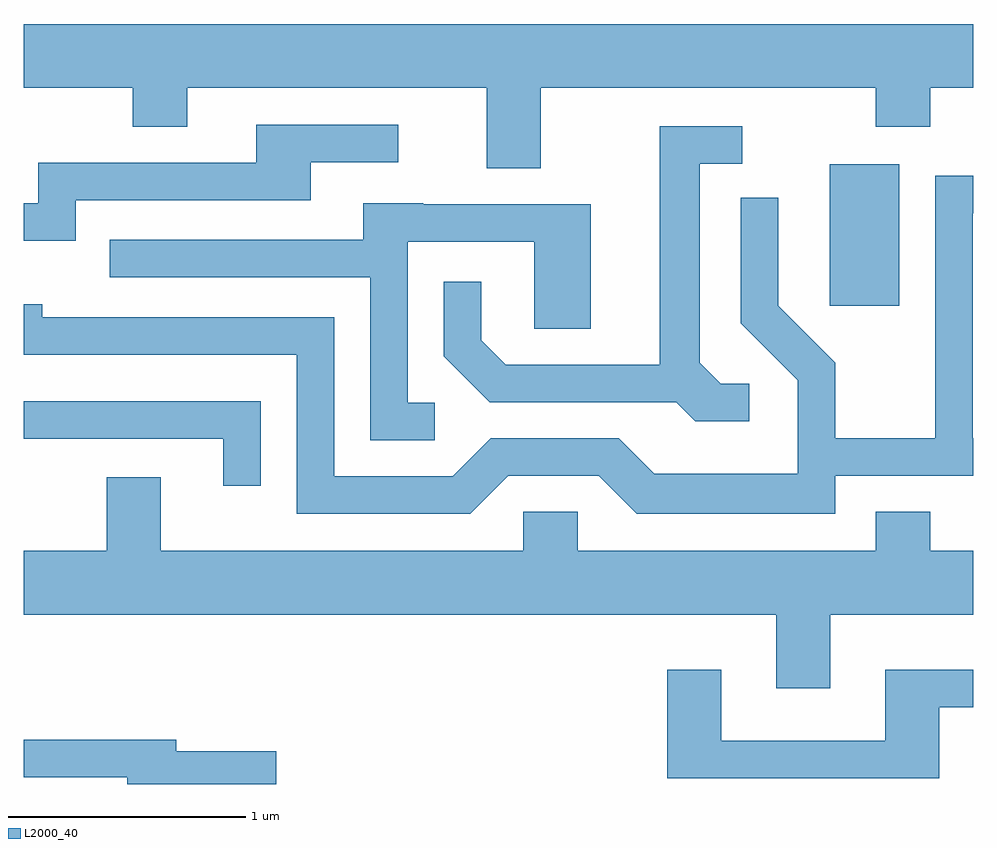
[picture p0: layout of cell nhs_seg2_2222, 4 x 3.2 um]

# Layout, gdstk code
import gdstk
lib = gdstk.Library(unit=1e-6, precision=1e-09)
def R(c, l, rs):  # rectangles x0, y0, x1, y1
    for r in rs: c.add(gdstk.rectangle(r[:2], r[2:], *l))
def P(c, l, *ps):  # polygons
    for p in ps: c.add(gdstk.Polygon(p, *l))
L2000_40 = (2000, 40)

nhs_seg2_2222 = lib.new_cell('nhs_seg2_2222')
R(nhs_seg2_2222, L2000_40, [(253.006,1071.816,253.299,1072.414)])
P(nhs_seg2_2222, L2000_40, [(251.789,1072.736),(253.201,1072.736),(253.201,1072.571),(253.429,1072.571),(253.429,1072.736),(253.611,1072.736),(253.611,1073.004),(249.611,1073.004),(249.611,1072.736),(250.071,1072.736),(250.071,1072.571),(250.299,1072.571),(250.299,1072.736),(251.561,1072.736),(251.561,1072.396),(251.789,1072.396)],
  [(249.829,1072.261),(250.819,1072.261),(250.819,1072.421),(251.188,1072.421),(251.188,1072.579),(250.591,1072.579),(250.591,1072.419),(249.671,1072.419),(249.671,1072.249),(249.611,1072.249),(249.611,1072.091),(249.829,1072.091)],
  [(252.668,1071.489),(252.547,1071.489),(252.459,1071.577),(252.459,1072.416),(252.638,1072.416),(252.638,1072.574),(252.291,1072.574),(252.291,1071.569),(251.642,1071.569),(251.539,1071.672),(251.539,1071.918),(251.381,1071.918),(251.381,1071.604),(251.574,1071.411),(252.359,1071.411),(252.439,1071.331),(252.668,1071.331)],
  [(251.652,1071.101),(252.034,1071.101),(252.194,1070.941),(253.029,1070.941),(253.029,1071.101),(253.611,1071.101),(253.611,1071.259),(253.609,1071.259),(253.609,1072.206),(253.611,1072.206),(253.611,1072.364),(253.451,1072.364),(253.451,1071.259),(253.029,1071.259),(253.029,1071.577),(252.789,1071.817),(252.789,1072.273),(252.631,1072.273),(252.631,1071.744),(252.871,1071.504),(252.871,1071.109),(252.267,1071.109),(252.117,1071.259),(251.579,1071.259),(251.419,1071.099),(250.919,1071.099),(250.919,1071.769),(249.689,1071.769),(249.689,1071.824),(249.611,1071.824),(249.611,1071.611),(250.761,1071.611),(250.761,1070.941),(251.492,1070.941)],
  [(251.343,1071.409),(251.229,1071.409),(251.229,1072.086),(251.761,1072.086),(251.761,1071.721),(251.999,1071.721),(251.999,1072.244),(251.295,1072.244),(251.295,1072.249),(251.041,1072.249),(251.041,1072.094),(249.973,1072.094),(249.973,1071.936),(251.071,1071.936),(251.071,1071.251),(251.343,1071.251)],
  [(250.609,1071.414),(249.611,1071.414),(249.611,1071.256),(250.451,1071.256),(250.451,1071.058),(250.609,1071.058)],
  [(253.009,1070.516),(253.611,1070.516),(253.611,1070.784),(253.429,1070.784),(253.429,1070.949),(253.201,1070.949),(253.201,1070.784),(251.944,1070.784),(251.944,1070.949),(251.716,1070.949),(251.716,1070.784),(250.189,1070.784),(250.189,1071.094),(249.961,1071.094),(249.961,1070.784),(249.611,1070.784),(249.611,1070.516),(252.781,1070.516),(252.781,1070.206),(253.009,1070.206)],
  [(253.469,1070.126),(253.611,1070.126),(253.611,1070.284),(253.241,1070.284),(253.241,1069.984),(252.549,1069.984),(252.549,1070.284),(252.321,1070.284),(252.321,1069.826),(253.469,1069.826)],
  [(250.674,1069.939),(250.254,1069.939),(250.254,1069.989),(249.611,1069.989),(249.611,1069.831),(250.046,1069.831),(250.046,1069.802),(250.674,1069.802)])

lib.write_gds('nhs_seg2_2222.gds')
